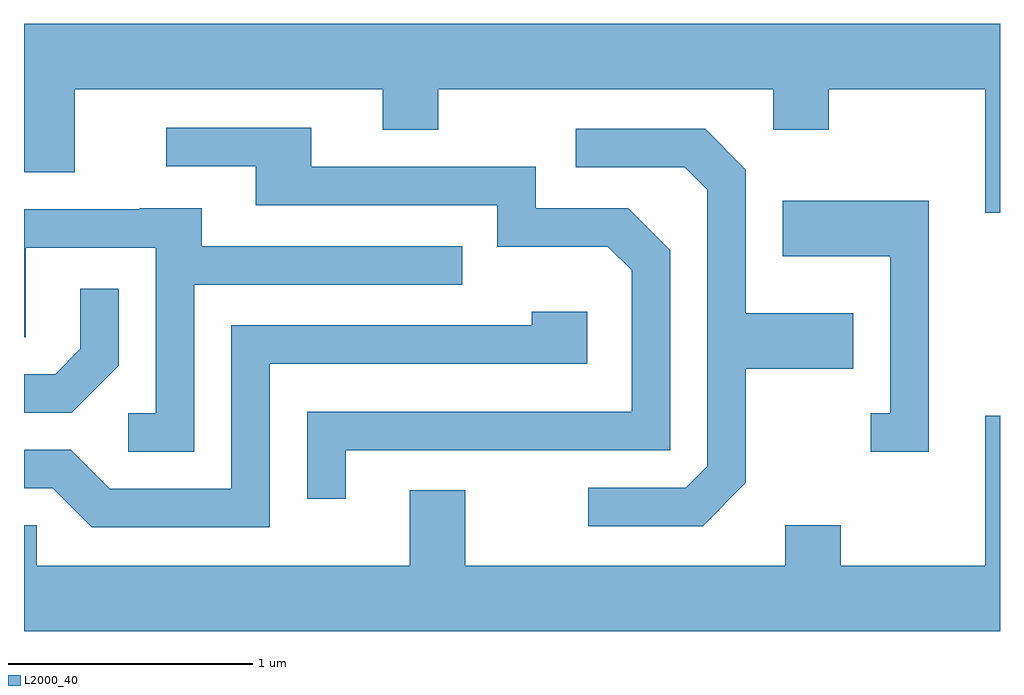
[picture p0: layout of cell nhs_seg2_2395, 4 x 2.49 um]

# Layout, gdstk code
import gdstk
lib = gdstk.Library(unit=1e-6, precision=1e-09)
def P(c, l, *ps):  # polygons
    for p in ps: c.add(gdstk.Polygon(p, *l))
L2000_40 = (2000, 40)

nhs_seg2_2395 = lib.new_cell('nhs_seg2_2395')
P(nhs_seg2_2395, L2000_40, [(259.611,1010.844),(255.611,1010.844),(255.611,1010.236),(255.819,1010.236),(255.819,1010.576),(257.081,1010.576),(257.081,1010.411),(257.309,1010.411),(257.309,1010.576),(258.681,1010.576),(258.681,1010.411),(258.909,1010.411),(258.909,1010.576),(259.551,1010.576),(259.551,1010.071),(259.611,1010.071)],
  [(256.929,1009.096),(258.259,1009.096),(258.259,1009.917),(258.087,1010.089),(257.709,1010.089),(257.709,1010.259),(256.789,1010.259),(256.789,1010.419),(256.193,1010.419),(256.193,1010.261),(256.561,1010.261),(256.561,1010.101),(257.551,1010.101),(257.551,1009.931),(258.004,1009.931),(258.101,1009.834),(258.101,1009.254),(256.771,1009.254),(256.771,1008.898),(256.929,1008.898)],
  [(258.569,1008.964),(258.569,1009.431),(259.009,1009.431),(259.009,1009.659),(258.569,1009.659),(258.569,1010.247),(258.402,1010.414),(257.873,1010.414),(257.873,1010.256),(258.319,1010.256),(258.411,1010.164),(258.411,1009.032),(258.324,1008.944),(257.923,1008.944),(257.923,1008.786),(258.392,1008.786)],
  [(259.319,1010.119),(258.721,1010.119),(258.721,1009.891),(259.161,1009.891),(259.161,1009.249),(259.082,1009.249),(259.082,1009.091),(259.319,1009.091)],
  [(256.309,1009.776),(257.408,1009.776),(257.408,1009.934),(256.339,1009.934),(256.339,1010.089),(256.085,1010.089),(256.085,1010.084),(255.611,1010.084),(255.611,1009.561),(255.619,1009.561),(255.619,1009.926),(256.151,1009.926),(256.151,1009.249),(256.038,1009.249),(256.038,1009.091),(256.309,1009.091)],
  [(255.999,1009.444),(255.999,1009.758),(255.841,1009.758),(255.841,1009.512),(255.739,1009.409),(255.611,1009.409),(255.611,1009.251),(255.807,1009.251)],
  [(256.619,1009.451),(257.919,1009.451),(257.919,1009.664),(257.691,1009.664),(257.691,1009.609),(256.461,1009.609),(256.461,1008.939),(255.962,1008.939),(255.802,1009.099),(255.611,1009.099),(255.611,1008.941),(255.729,1008.941),(255.889,1008.781),(256.619,1008.781)],
  [(259.611,1009.239),(259.551,1009.239),(259.551,1008.624),(258.959,1008.624),(258.959,1008.789),(258.731,1008.789),(258.731,1008.624),(257.419,1008.624),(257.419,1008.934),(257.191,1008.934),(257.191,1008.624),(255.664,1008.624),(255.664,1008.789),(255.611,1008.789),(255.611,1008.356),(259.611,1008.356)])

lib.write_gds('nhs_seg2_2395.gds')
